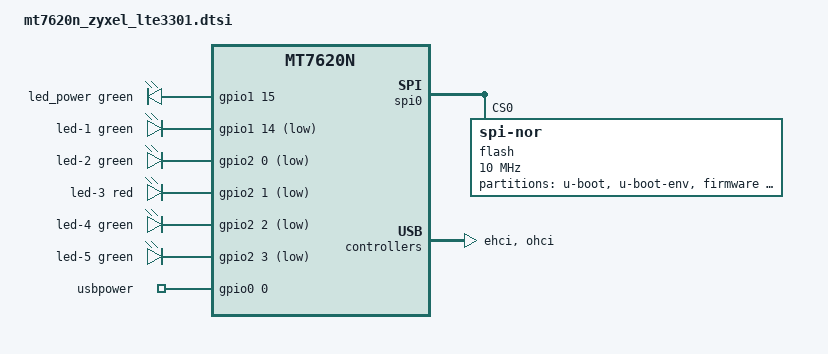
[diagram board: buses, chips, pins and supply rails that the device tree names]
#include "mt7620n.dtsi"

#include <dt-bindings/gpio/gpio.h>
#include <dt-bindings/leds/common.h>
#include <dt-bindings/input/input.h>

/ {
	aliases {
		led-boot = &led_power;
		led-failsafe = &led_power;
		led-running = &led_power;
		led-upgrade = &led_power;
	};

	leds {
		compatible = "gpio-leds";

		led_power: led-0 {
			color = <LED_COLOR_ID_GREEN>;
			function = LED_FUNCTION_POWER;
			gpios = <&gpio1 15 GPIO_ACTIVE_HIGH>;
		};

		led-1 {
			color = <LED_COLOR_ID_GREEN>;
			function = LED_FUNCTION_WAN;
			gpios = <&gpio1 14 GPIO_ACTIVE_LOW>;
		};

		/* Pads 40-43 are the front LEDs (signal bars/LTE/switch) like on
		 * the proven reference (vpn2go, see
		 * /vol/release/lte3301/reference-vpn2go-m209.md): the pads must
		 * be in GPIO mode with defined levels; EPHY mode lets the ESW
		 * drive possible modem strap lines. Pin 72 is deliberately left
		 * unclaimed (like on the reference). */
		led-2 {
			color = <LED_COLOR_ID_GREEN>;
			function = LED_FUNCTION_MOBILE;
			gpios = <&gpio2 0 GPIO_ACTIVE_LOW>;
		};

		led-3 {
			color = <LED_COLOR_ID_RED>;
			function = LED_FUNCTION_MOBILE;
			gpios = <&gpio2 1 GPIO_ACTIVE_LOW>;
		};

		led-4 {
			color = <LED_COLOR_ID_GREEN>;
			function = "lte";
			gpios = <&gpio2 2 GPIO_ACTIVE_LOW>;
		};

		led-5 {
			color = <LED_COLOR_ID_GREEN>;
			function = LED_FUNCTION_LAN;
			gpios = <&gpio2 3 GPIO_ACTIVE_LOW>;
		};
	};

	/*
	 * No gpio-keys and no modem-enable export here: pin 2 must stay
	 * unclaimed like in the proven 2024.10 release DTS - the modem
	 * only needs the usbpower switch, everything else on the port
	 * kept it from enumerating (see lte3301 modem bring-up notes).
	 */

	gpio-export {
		compatible = "gpio-export";
		#size-cells = <0>;

		usbpower {
			gpio-export,name = "usbpower";
			gpio-export,output = <1>;
			gpios = <&gpio0 0 0>;
		};
	};

};

&gpio1 {
	status = "okay";
};

&gpio2 {
	status = "okay";
};

&gpio3 {
	status = "okay";
};

&spi0 {
	status = "okay";

	flash@0 {
		compatible = "jedec,spi-nor";
		reg = <0>;
		spi-max-frequency = <10000000>;

		partitions {
			compatible = "fixed-partitions";
			#address-cells = <1>;
			#size-cells = <1>;

			partition@0 {
				label = "u-boot";
				reg = <0x0 0x30000>;
				read-only;
			};

			partition@30000 {
				/* writable on purpose: uboot-envtools (fw_setenv) */
				label = "u-boot-env";
				reg = <0x30000 0x10000>;
			};

			partition@40000 {
				compatible = "denx,fit";
				label = "firmware";
				reg = <0x40000 0xFB0000>;
			};

			config: partition@ff0000 {
				label = "config";
				reg = <0xff0000 0x10000>;
				read-only;

				/*
				 * The base MAC sits at a different offset per
				 * hardware variant, so the cell itself is
				 * added by the including board file.
				 */
				config_nvmem: nvmem-layout {
					compatible = "fixed-layout";
					#address-cells = <1>;
					#size-cells = <1>;
				};
			};
		};
	};

};

&ehci {
	status = "okay";
};

&ohci {
	status = "okay";
};

&ethernet {
	mediatek,portmap = "llllw";
};

/*
 * GPIO1_MODE (0x10000060) bits that have to be in GPIO mode for this board,
 * and the group that owns each of them:
 *   bit 2-4   uartf       pads 7-14 unused here, keep them as gpio
 *   bit 12    spi refclk  pads 37-39 (power/wan LED) - already gpio at reset
 *   bit 13    wled        pad 72 (LTE globe) - already gpio at reset; the pad
 *                         itself stays unclaimed, driving it kills the modem
 *   bit 15    ephy        pads 40-44, otherwise the ESW blinks the front LEDs
 *                         and drives the modem strap lines
 *   bit 21-22 wdt         0 at reset (watchdog reset on pad 17); the proven
 *                         reference sets it to 2 (gpio). A vendor patch used
 *                         to do that with an extra one-bit "pwr_zxl" group on
 *                         bit 22 - the upper half of this very field - so the
 *                         upstream group writes the same value, no patch
 */
&state_default {
	default {
		groups = "uartf", "spi refclk", "wled", "ephy", "wdt";
		function = "gpio";
	};
};
